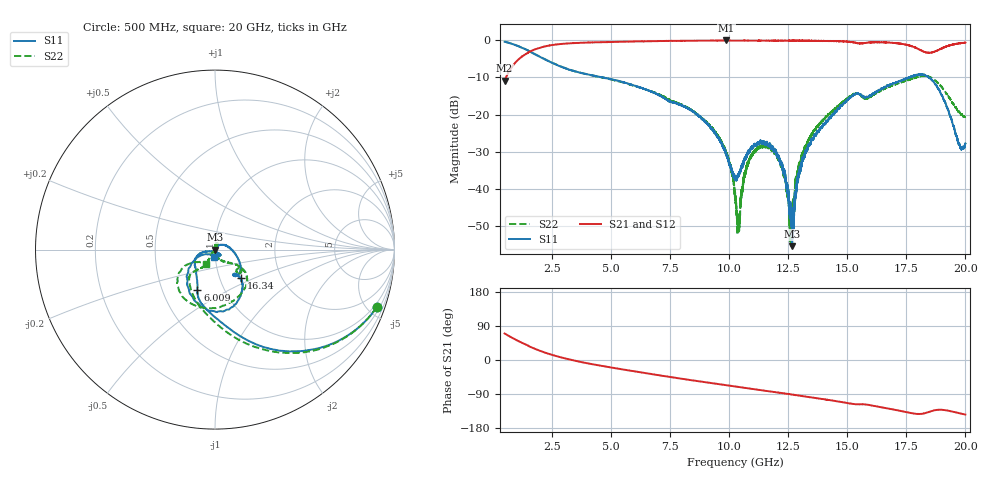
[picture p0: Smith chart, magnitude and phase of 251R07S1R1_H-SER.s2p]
!{201R07S1R1}
!Johanson Technology Inc.
!www.johansontechnology.com
!Test Board Conditions:
!Substrate Type  RO4350B
!Substrate Thickness  10 mil
!Substrate Dk  3.66
!TL Type: GCPW
!TL Trace Width  21 mil
!TL Gap  20 mil
!Electrode orientation  Horizontal
!DUT TOPOLOGY	SERIES
!Mounting Pad LxW  16x21 mil
!Agilent Technologies,N5230A,MY45001966,A.07.50.67
!Agilent N5230A: A.07.50.67
! Created Mon Mar  9 16:19:36 2020
# mhz S ma R 50
! 2 Port Network Data from SP1.SP block
! freq  magS11  angS11  magS21  angS21  magS12  angS12  magS22  angS22
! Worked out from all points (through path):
!   19501 points, 500 MHz to 20 GHz, reference 50 ohm
!   highest |S21| = -0.05 dB at 9.881 GHz (marker M1); lowest = -10.9 dB at 500 MHz (marker M2)
!   lowest |S11| = -55.4 dB at 12.67 GHz (marker M3), VSWR 1.00, Z = 50.2 - j0.0532 ohm
!   |S11| at or under -10 dB: 4.634 GHz to 17.62 GHz (12.99 GHz wide, 117 % of centre); 17.62237 GHz to 17.62927 GHz (6.904 MHz wide, 0.0392 % of centre); 18.44 GHz to end of sweep (the widest 3 of 4)
!   |S22| runs from -55.4 to -0.4 dB; largest |S21 - S12| = 0.015
!   S11 on the Smith chart (normalised r, x): 500 MHz: 0.75, -5.66; 6.009 GHz: 0.75, -0.36; 16.34 GHz: 1.26, -0.42; 20 GHz: 0.99, -0.08
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500  0.9564 -19.7  0.2859 69.9  0.287 70.1  0.9559 -19.5
1483  0.7306 -50.8  0.6745 38.5  0.6754 38.4  0.7332 -51.8
3750  0.3627 -92.6  0.9245 -5.5  0.9245 -5.5  0.3619 -97.4
6009  0.2437 -113.7  0.9628 -30.0  0.9644 -30.1  0.2426 -125.3
7000  0.1853 -123.4  0.9752 -39.9  0.9758 -40.0  0.1882 -135.2
8730  0.09483 -163.6  0.9882 -56.4  0.987 -56.4  0.09553 -122.7
9881  0.02948 -159.5  0.9939 -66.6  0.9914 -66.7  0.03052 -127.5
10250  0.01379 -106.0  0.9913 -69.9  0.9908 -69.9  0.007918 -142.7
10394  0.0152 -75.4  0.9907 -71.2  0.9908 -71.1  0.003705 139.5
10832  0.03141 -45.5  0.9913 -75.1  0.9879 -74.9  0.02318 65.7
11663  0.03867 -55.0  0.9888 -82.2  0.9894 -82.3  0.03589 76.6
12283  0.01774 -67.8  0.9865 -87.7  0.9906 -87.8  0.01671 94.3
12567  0.006451 -69.4  0.9884 -90.2  0.9905 -90.3  0.004052 130.8
12670  0.001693 -18.3  0.988 -91.2  0.9891 -91.3  0.005201 -146.1
13000  0.01882 56.8  0.988 -94.3  0.9844 -94.3  0.02084 -87.7
13500  0.0458 41.0  0.9847 -99.0  0.9832 -98.9  0.05364 -67.8
15165  0.1723 -34.8  0.9455 -114.7  0.947 -115.3  0.1804 -36.6
16345  0.2153 -47.6  0.9408 -123.7  0.9349 -123.5  0.2042 -36.2
16750  0.2456 -51.4  0.9321 -128.2  0.9229 -128.4  0.236 -41.1
18470  0.3125 -108.6  0.6785 -136.9  0.6789 -136.6  0.3215 -122.4
19759  0.039 -133.4  0.9099 -140.7  0.9082 -140.5  0.1058 -138.2
20000  0.0409 -95.1  0.9263 -144.0  0.9263 -143.9  0.09318 -123.4
